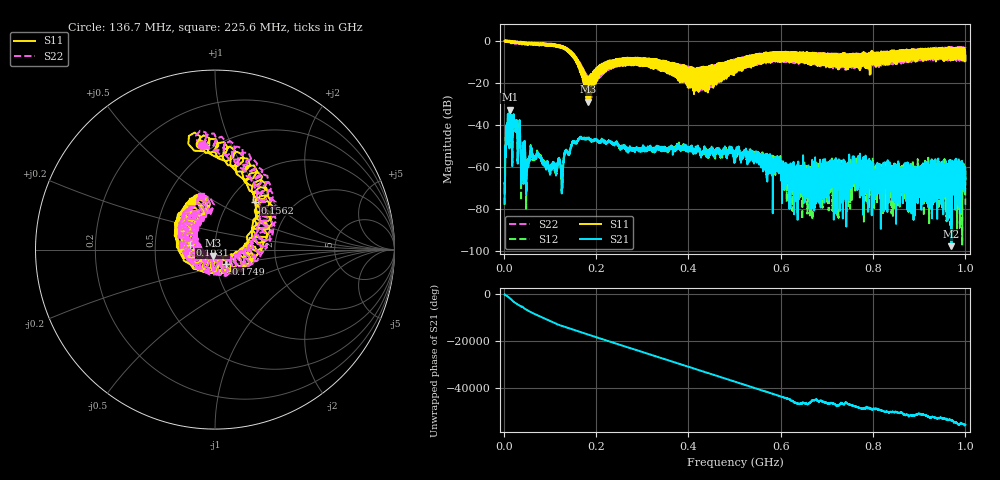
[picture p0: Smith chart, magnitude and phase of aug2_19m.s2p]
!Keysight Technologies N9923A: A.12.45
!Date: Saturday, 02 August 2025 19:06:51
!Timezone: (UTC+08:00) Kuala Lumpur, Singapore
!Model: N9923A
!Serial: MY61181427
!GPS Latitude:
!GPS Longitude:
!GPS TimeStamp: 0001-01-01 00:00:00Z
!GPS Seconds Since Last Read: 0
!CHECKSUM:0770905685
!Correction: S11(ON U)S21(ON U)S12(ON U)S22(ON U)
!S2P File: Measurements:S11,S21,S12,S22:
# Hz S DB R 50
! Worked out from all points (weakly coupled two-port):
!   4001 points, 2 MHz to 1 GHz, reference 50 ohm
!   highest |S21| = -32.76 dB at 13.23 MHz (marker M1); lowest = -97.8 dB at 969.8 MHz (marker M2)
!   lowest |S11| = -29.0 dB at 182.9 MHz (marker M3), VSWR 1.07, Z = 48.8 - j3.3 ohm
!   |S11| at or under -10 dB: 162.5 MHz to 223.5 MHz (61.04 MHz wide, 31.6 % of centre); 223.6 MHz to 225.3 MHz (1.604 MHz wide, 0.715 % of centre); 352.8 MHz to 484.7 MHz (131.9 MHz wide, 31.5 % of centre) (the widest 3 of 266)
!   |S22| runs from -28.7 to 0.1 dB; largest |S21 - S12| = 0.0026
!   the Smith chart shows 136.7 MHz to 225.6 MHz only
!   S11 on the Smith chart (normalised r, x): 136.7 MHz: 0.42, +0.77; 156.2 MHz: 1.31, +0.78; 174.9 MHz: 1.11, -0.18; 193.1 MHz: 0.75, +0.04; 225.6 MHz: 0.68, +0.40
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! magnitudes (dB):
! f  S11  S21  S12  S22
! 2 MHz  -0.1  -77.4  -78.1  -0.1
! 8.238 MHz  0.1  -44.9  -44.9  0.1
! 13.23 MHz  -0.2  -32.8  -32.7  -0.5
! 24.7 MHz  -0.5  -41.7  -41.7  -0.7
! 51.65 MHz  -1.3  -57.7  -57.3  -1.2
! 61.63 MHz  -1.2  -54.1  -53.5  -1.5
! 125.3 MHz  -2.9  -65.4  -65.9  -3.0
! 136.7 MHz  -4.5  -53.2  -52.5  -4.6
! 156.2 MHz  -9.2  -48.0  -48.5  -8.3
! 168.4 MHz  -14.8  -46.7  -46.1  -15.5
! 174.9 MHz  -20.1  -46.9  -46.6  -21.2
! 182.9 MHz  -29.0  -46.4  -46.5  -24.1
! 193.1 MHz  -16.9  -47.9  -47.8  -21.9
! 225.6 MHz  -10.5  -48.5  -48.4  -10.2
! 334.8 MHz  -11.6  -50.7  -50.6  -9.8
! 417.2 MHz  -23.5  -51.9  -52.5  -16.3
! 501 MHz  -12.4  -54.0  -53.3  -13.6
! 667.4 MHz  -6.7  -62.3  -72.1  -10.3
! 833.8 MHz  -6.8  -62.3  -76.9  -7.8
! 969.8 MHz  -6.0  -97.8  -64.2  -3.5
! 994.8 MHz  -8.8  -61.5  -66.5  -3.3
! 1 GHz  -7.1  -62.1  -78.1  -3.1
